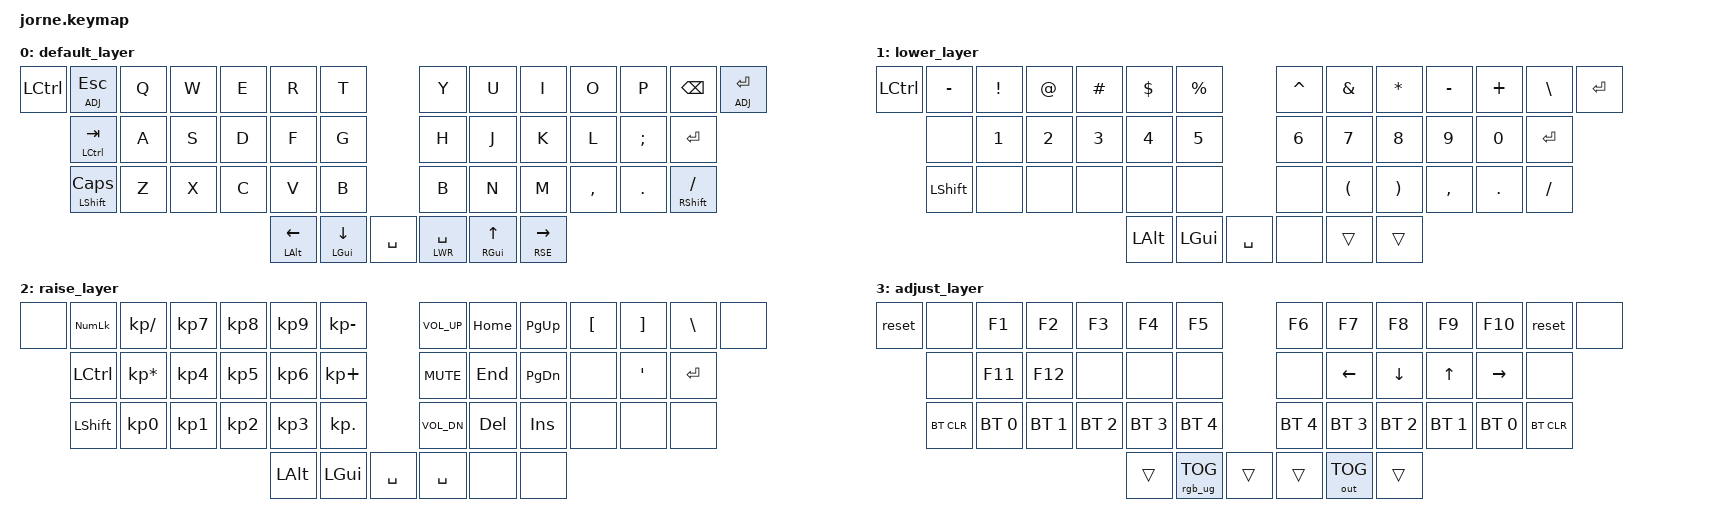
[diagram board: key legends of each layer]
/*
 * Copyright (c) 2020 The ZMK Contributors
 *
 * SPDX-License-Identifier: MIT
 */
#include <dt-bindings/led/led.h>
#include <behaviors.dtsi>
#include <dt-bindings/zmk/keys.h>
#include <dt-bindings/zmk/bt.h>
#include <dt-bindings/zmk/outputs.h>
#include <dt-bindings/zmk/rgb.h>

#define DEF 0
#define LWR 1
#define RSE 2
#define ADJ 3

&spi1 {
	compatible = "nordic,nrf-spim";
	/* Cannot be used together with i2c0. */
	status = "okay";
	mosi-pin = <6>;
	// Unused pins, needed for SPI definition, but not used by the ws2812 driver itself.
	sck-pin = <5>;
	miso-pin = <7>;

	led_strip: ws2812@0 {
		compatible = "worldsemi,ws2812-spi";
		label = "WS2812";

		/* SPI */
		reg = <0>; /* ignored, but necessary for SPI bindings */
		spi-max-frequency = <4000000>;

		/* WS2812 */
		chain-length = <6>; /* There are per-key RGB, but the first 6 are underglow */
		spi-one-frame = <0x70>;
		spi-zero-frame = <0x40>;
		color-mapping = <LED_COLOR_ID_GREEN LED_COLOR_ID_RED LED_COLOR_ID_BLUE>;
	};
};

/ {
    chosen {
		zmk,underglow = &led_strip;
	};

        keymap {
                compatible = "zmk,keymap";

                default_layer {
                        bindings = <
   &kp LCTRL  &lt ADJ ESC         &kp Q &kp W &kp E &kp R &kp T      &kp Y  &kp U  &kp I  &kp O   &kp P    &kp BSPC &lt ADJ ENTER
             &mt LCTRL TAB      &kp A &kp S &kp D &kp F &kp G         &kp H  &kp J  &kp K  &kp L   &kp SEMI &kp ENTER
             &mt LSHFT CLCK      &kp Z &kp X &kp C &kp V &kp B     &kp B  &kp N  &kp M  &kp COMMA &kp DOT &mt RSHIFT SLASH
                         &mt LALT LEFT &mt LGUI DOWN &kp SPACE             &lt LWR SPACE &mt RGUI UP &lt RSE RIGHT
                        >;
                };
                lower_layer {
                        bindings = <
   &kp LCTRL  &kp MINUS &kp EXCL &kp AT &kp HASH &kp DLLR &kp PRCNT        &kp CARET &kp AMPS &kp STAR &kp MINUS &kp PLUS &kp BSLH    &kp ENTER    
	      &none     &kp N1   &kp N2 &kp N3   &kp N4   &kp N5           &kp N6    &kp N7   &kp N8   &kp N9   &kp N0   &kp ENTER
              &kp LSHIFT    &none   &none &none   &none   &none           &none    &kp LPAR   &kp RPAR   &kp COMMA &kp DOT  &kp SLASH
                                    &kp LALT &kp LGUI &kp SPACE          &none &trans &trans
                        >;
                };

                raise_layer {
// -----------------------------------------------------------------------------------------
// |     | NMLK |  /  |  7  |  8  |  9  |  -  |   | VOLU| HOME| PGUP|LBKT|RBKT |BSLH |    |
//       | CTRL |  *  |  4  |  5  |  6  |  +  |   | MUT | END|  PGDN |    | SQT | ENTER |
//       | SHIFT |  0  |  1  |  2  |  3  |  .  |   | VOLD| DEL | INS|   |     |     |
//                          | ALT | GUI | SPACE |   | SPACE |     |     |
                        bindings = <
   &none  &kp KP_NUM      &kp KP_SLASH    &kp KP_N7 &kp KP_N8 &kp KP_N9 &kp KP_MINUS        &kp C_VOL_UP &kp HOME &kp PG_UP  &kp LBKT &kp RBKT &kp BSLH &none
          &kp LCTRL       &kp KP_MULTIPLY &kp KP_N4 &kp KP_N5 &kp KP_N6 &kp KP_PLUS         &kp C_MUTE   &kp END  &kp PG_DN  &none    &kp SQT  &kp ENTER
          &kp LSHIFT      &kp KP_N0       &kp KP_N1 &kp KP_N2 &kp KP_N3 &kp KP_DOT          &kp C_VOL_DN &kp DEL  &kp INS    &none    &none    &none
                                                           &kp LALT &kp LGUI &kp SPACE        &kp SPACE &none &none
                        >;
                };
                adjust_layer {
// -----------------------------------------------------------------------------------------
// | RST |      | F1  | F2  | F3  | F4  | F5  |   |  F6 |  F7 | F8  |  F9 | F10 |     | RST |
//       | BLDR| F11 | F12 |     |     |     |   |     | LFT |  DN |  UP | RGT | BLDR|
//       | BTCLR| BT0 | BT1 | BT2 | BT3 | BT4 |   | BT4 | BT3 | BT2 | BT1 | BT0 | BTCLR|
//                          |     | RGB |     |   |     | OUT |     |
                        bindings = <
   &reset &none  &kp F1  &kp F2   &kp F3   &kp F4    &kp F5    &kp F6    &kp F7     &kp F8  &kp F9      &kp F10   &reset   &none 
          &none   &kp F11 &kp F12 &none &none &none       &none &kp LEFT &kp DOWN &kp UP &kp RIGHT  &none
          &bt BT_CLR   &bt BT_SEL 0 &bt BT_SEL 1 &bt BT_SEL 2 &bt BT_SEL 3 &bt BT_SEL 4              &bt BT_SEL 4 &bt BT_SEL 3 &bt BT_SEL 2 &bt BT_SEL 1 &bt BT_SEL 0  &bt BT_CLR
                                                                    &trans &rgb_ug RGB_TOG &trans   &trans &out OUT_TOG &trans
                        >;
                };
        };
};
